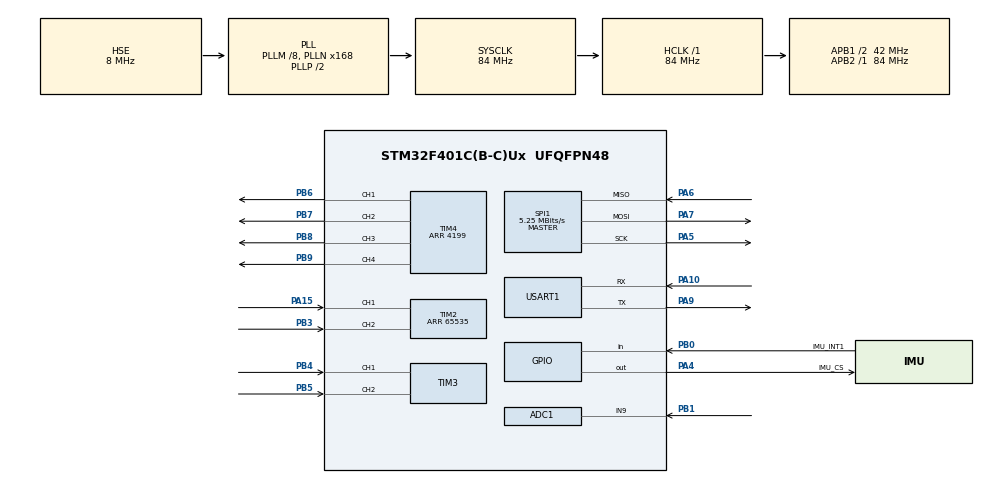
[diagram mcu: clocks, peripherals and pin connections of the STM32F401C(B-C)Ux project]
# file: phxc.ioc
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ADC1.Channel-3\#ChannelRegularConversion=ADC_CHANNEL_9
ADC1.NbrOfConversionFlag=1
ADC1.Rank-3\#ChannelRegularConversion=1
ADC1.SamplingTime-3\#ChannelRegularConversion=ADC_SAMPLETIME_84CYCLES
ADC1.master=1
Mcu.Family=STM32F4
Mcu.Name=STM32F401C(B-C)Ux
Mcu.Package=UFQFPN48
NVIC.PriorityGroup=NVIC_PRIORITYGROUP_4
NVIC.TIM5_IRQn=true\:0\:0\:false\:false\:true\:true\:true\:true
NVIC.USART1_IRQn=true\:1\:0\:true\:false\:true\:true\:true\:true
PA10.Mode=Asynchronous
PA10.Signal=USART1_RX
PA13.Mode=Serial_Wire
PA13.Signal=SYS_JTMS-SWDIO
PA14.Mode=Serial_Wire
PA14.Signal=SYS_JTCK-SWCLK
PA15.Signal=S_TIM2_CH1_ETR
PA4.GPIO_Label=IMU_CS
PA4.PinState=GPIO_PIN_SET
PA4.Signal=GPIO_Output
PA5.Mode=Full_Duplex_Master
PA5.Signal=SPI1_SCK
PA6.Mode=Full_Duplex_Master
PA6.Signal=SPI1_MISO
PA7.Mode=Full_Duplex_Master
PA7.Signal=SPI1_MOSI
PA9.Mode=Asynchronous
PA9.Signal=USART1_TX
PB0.GPIO_Label=IMU_INT1
PB0.GPIO_PuPd=GPIO_PULLUP
PB0.Signal=GPIO_Input
PB1.Signal=ADCx_IN9
PB3.Signal=S_TIM2_CH2
PB4.Signal=S_TIM3_CH1
PB5.Signal=S_TIM3_CH2
PB6.Signal=S_TIM4_CH1
PB7.Signal=S_TIM4_CH2
PB8.Signal=S_TIM4_CH3
PB9.Signal=S_TIM4_CH4
PC14-OSC32_IN.Mode=LSE-External-Oscillator
PC14-OSC32_IN.Signal=RCC_OSC32_IN
PC15-OSC32_OUT.Mode=LSE-External-Oscillator
PC15-OSC32_OUT.Signal=RCC_OSC32_OUT
PH0\ -\ OSC_IN.Mode=HSE-External-Oscillator
PH0\ -\ OSC_IN.Signal=RCC_OSC_IN
PH1\ -\ OSC_OUT.Mode=HSE-External-Oscillator
PH1\ -\ OSC_OUT.Signal=RCC_OSC_OUT
ProjectManager.HeapSize=0x200
ProjectManager.StackSize=0x400
ProjectManager.TargetToolchain=CMake
RCC.48MHZClocksFreq_Value=42000000
RCC.AHBFreq_Value=84000000
RCC.APB1CLKDivider=RCC_HCLK_DIV2
RCC.APB1Freq_Value=42000000
RCC.APB1TimFreq_Value=84000000
RCC.APB2Freq_Value=84000000
RCC.APB2TimFreq_Value=84000000
RCC.CortexFreq_Value=84000000
RCC.HCLKFreq_Value=84000000
RCC.HSE_VALUE=8000000
RCC.HSI_VALUE=16000000
RCC.PLLM=8
RCC.PLLN=168
RCC.PLLSourceVirtual=RCC_PLLSOURCE_HSE
RCC.SYSCLKFreq_VALUE=84000000
RCC.SYSCLKSource=RCC_SYSCLKSOURCE_PLLCLK
RCC.VCOOutputFreq_Value=168000000
SH.ADCx_IN9.0=ADC1_IN9,IN9
SH.S_TIM2_CH1_ETR.0=TIM2_CH1,Encoder_Interface
SH.S_TIM2_CH2.0=TIM2_CH2,Encoder_Interface
SH.S_TIM3_CH1.0=TIM3_CH1,Encoder_Interface
SH.S_TIM3_CH2.0=TIM3_CH2,Encoder_Interface
SH.S_TIM4_CH1.0=TIM4_CH1,PWM Generation1 CH1
SH.S_TIM4_CH2.0=TIM4_CH2,PWM Generation2 CH2
SH.S_TIM4_CH3.0=TIM4_CH3,PWM Generation3 CH3
SH.S_TIM4_CH4.0=TIM4_CH4,PWM Generation4 CH4
SPI1.BaudRatePrescaler=SPI_BAUDRATEPRESCALER_16
SPI1.CalculateBaudRate=5.25 MBits/s
SPI1.Direction=SPI_DIRECTION_2LINES
SPI1.Mode=SPI_MODE_MASTER
SPI1.VirtualType=VM_MASTER
TIM2.EncoderMode=TIM_ENCODERMODE_TI12
TIM2.IC1Filter=10
TIM2.IC2Filter=10
TIM2.Period=65535
TIM3.EncoderMode=TIM_ENCODERMODE_TI12
TIM3.IC1Filter=10
TIM3.IC2Filter=10
TIM4.AutoReloadPreload=TIM_AUTORELOAD_PRELOAD_ENABLE
TIM4.Channel-PWM\ Generation1\ CH1=TIM_CHANNEL_1
TIM4.Channel-PWM\ Generation2\ CH2=TIM_CHANNEL_2
TIM4.Channel-PWM\ Generation3\ CH3=TIM_CHANNEL_3
TIM4.Channel-PWM\ Generation4\ CH4=TIM_CHANNEL_4
TIM4.Period=4199
TIM5.Period=999
TIM5.Prescaler=83
USART1.VirtualMode=VM_ASYNC
VP_TIM5_VS_ClockSourceINT.Mode=Internal
board=custom

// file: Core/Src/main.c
/* USER CODE BEGIN Header */
/**
  ******************************************************************************
  * @file           : main.c
  * @brief          : Main program body
  ******************************************************************************
  * @attention
  *
  * Copyright (c) 2026 STMicroelectronics.
  * All rights reserved.
  *
  * This software is licensed under terms that can be found in the LICENSE file
  * in the root directory of this software component.
  * If no LICENSE file comes with this software, it is provided AS-IS.
  *
  ******************************************************************************
  */
/* USER CODE END Header */
#include "main.h"
#include "adc.h"
#include "spi.h"
#include "tim.h"
#include "usart.h"
#include "gpio.h"

/* USER CODE BEGIN Includes */
#include "bsp_at8236.h"
#include "bsp_encoder.h"
#include "bsp_adc_vbat.h"
#include "bsp_uart.h"
#include "bsp_spi_icm42670.h"
#include "attitude.h"
#include "balance.h"
#include "protocol.h"
/* USER CODE END Includes */

/* USER CODE BEGIN PV */
/* 低压锁存：<9.0V 锁停，>9.9V 解锁 */
static uint8_t s_vbat_lock = 0u;
/* USER CODE END PV */

void SystemClock_Config(void);

int main(void)
{

  /* MCU Configuration--------------------------------------------------------*/

  /* Reset of all peripherals, Initializes the Flash interface and the Systick. */
  HAL_Init();

  /* Configure the system clock */
  SystemClock_Config();

  /* Initialize all configured peripherals */
  MX_GPIO_Init();
  MX_TIM4_Init();
  MX_TIM2_Init();
  MX_TIM3_Init();
  MX_SPI1_Init();
  MX_TIM5_Init();
  MX_USART1_UART_Init();
  MX_ADC1_Init();
  /* USER CODE BEGIN 2 */
  /* ---- 控制时基 5ms：84MHz/84/5000，覆盖 CubeMX 的 1ms（不改 .ioc） ---- */
  htim5.Init.Prescaler = 83u;
  htim5.Init.Period    = 4999u;
  if (HAL_TIM_Base_Init(&htim5) != HAL_OK) {
    Error_Handler();
  }

  /* ---- 板级驱动 ---- */
  Motor_Init();        /* TIM4 四路 PWM */
  Motor_Brake();       /* 上电先刹车 */
  Encoder_Init();      /* TIM3/TIM2 正交编码器 */
  Vbat_Init();
  Uart_Init();         /* USART1 中断接收 */
  Protocol_Init();

  /* ---- IMU 自检：失败每 200ms 重试（堵转拉塌 3.3V 会导致传感器掉线） ---- */
  while (ICM_Init() != 0u) {
    Uart_SendString("ICM42670 retry...\r\n");
    HAL_Delay(200);
  }
  Uart_SendString("ICM42670 OK\r\n");

  /* ---- 上电稳定 1.5s，期间车必须静止 ---- */
  HAL_Delay(1500);

  /* ---- 陀螺零偏校准（阻塞约 2s），失败最多重试 3 次 ---- */
  Attitude_Init();
  {
    uint8_t cal_ok = 0u;
    uint8_t try;
    for (try = 0u; try < 3u; try++) {
      if (Attitude_Calibrate() == 0u) {
        cal_ok = 1u;
        break;
      }
      Uart_SendString("GYRO CAL FAIL, retry...\r\n");
      HAL_Delay(300);
    }
    if (cal_ok) {
      Uart_SendString("GYRO CAL OK\r\n");
    } else {
      /* 始终失败则 Balance_Init 停在 CAL 态（仅刹车、不读 SPI），不会误启动 */
      Uart_SendString("GYRO CAL FAIL (check IMU)\r\n");
    }
  }

  /* ---- 待机：刹车，立正静止 1s 自动启动 ---- */
  Balance_Init();
  HAL_TIM_Base_Start_IT(&htim5);
  Uart_SendString("HOLD UPRIGHT 1s TO START\r\n");
  /* USER CODE END 2 */

  /* Infinite loop */
  while (1)
  {

    /* USER CODE BEGIN 3 */
    Protocol_Task();   /* 指令解析 + 50ms 波形上传 */

    /* 电池监测：200ms 采样；<9.9V 提示，<9.0V 锁停，>9.9V 解锁 */
    {
      static uint32_t s_t_vbat = 0u;
      static uint32_t s_t_warn = 0u;
      uint32_t now = HAL_GetTick();

      if ((now - s_t_vbat) >= 200u) {
        float vb;
        s_t_vbat = now;
        vb = Vbat_Read();
        Balance_NotifyVbat(vb);

        if (vb < 9.0f) {
          if (!s_vbat_lock) {
            s_vbat_lock = 1u;
            Uart_SendString("VBAT STOP 9.0V\r\n");
          }
        } else if (vb > 9.9f) {
          s_vbat_lock = 0u;
        } else if ((vb < 9.9f) && ((now - s_t_warn) >= 5000u)) {
          s_t_warn = now;
          Uart_SendString("VBAT LOW 9.9V\r\n");
        }

        /* 锁定期间持续回待机，清掉启动计时，避免反复自动 arm */
        if (s_vbat_lock) {
          Balance_Stop();
        }
      }
    }
  }
  /* USER CODE END 3 */
}

void SystemClock_Config(void)
{
  RCC_OscInitTypeDef RCC_OscInitStruct = {0};
  RCC_ClkInitTypeDef RCC_ClkInitStruct = {0};

  /** Configure the main internal regulator output voltage
  */
  __HAL_RCC_PWR_CLK_ENABLE();
  __HAL_PWR_VOLTAGESCALING_CONFIG(PWR_REGULATOR_VOLTAGE_SCALE2);

  /** Initializes the RCC Oscillators according to the specified parameters
  * in the RCC_OscInitTypeDef structure.
  */
  RCC_OscInitStruct.OscillatorType = RCC_OSCILLATORTYPE_HSE;
  RCC_OscInitStruct.HSEState = RCC_HSE_ON;
  RCC_OscInitStruct.PLL.PLLState = RCC_PLL_ON;
  RCC_OscInitStruct.PLL.PLLSource = RCC_PLLSOURCE_HSE;
  RCC_OscInitStruct.PLL.PLLM = 8;
  RCC_OscInitStruct.PLL.PLLN = 168;
  RCC_OscInitStruct.PLL.PLLP = RCC_PLLP_DIV2;
  RCC_OscInitStruct.PLL.PLLQ = 4;
  if (HAL_RCC_OscConfig(&RCC_OscInitStruct) != HAL_OK)
  {
    Error_Handler();
  }

  /** Initializes the CPU, AHB and APB buses clocks
  */
  RCC_ClkInitStruct.ClockType = RCC_CLOCKTYPE_HCLK|RCC_CLOCKTYPE_SYSCLK
                              |RCC_CLOCKTYPE_PCLK1|RCC_CLOCKTYPE_PCLK2;
  RCC_ClkInitStruct.SYSCLKSource = RCC_SYSCLKSOURCE_PLLCLK;
  RCC_ClkInitStruct.AHBCLKDivider = RCC_SYSCLK_DIV1;
  RCC_ClkInitStruct.APB1CLKDivider = RCC_HCLK_DIV2;
  RCC_ClkInitStruct.APB2CLKDivider = RCC_HCLK_DIV1;

  if (HAL_RCC_ClockConfig(&RCC_ClkInitStruct, FLASH_LATENCY_2) != HAL_OK)
  {
    Error_Handler();
  }
}

/* USER CODE BEGIN 4 */
/* TIM5 5ms 更新中断（优先级最高），直接执行控制链 */
void HAL_TIM_PeriodElapsedCallback(TIM_HandleTypeDef *htim)
{
  if (htim->Instance == TIM5) {
    Balance_Step();
  }
}
/* USER CODE END 4 */

void Error_Handler(void)
{
  __disable_irq();
  while (1)
  {
  }
}
